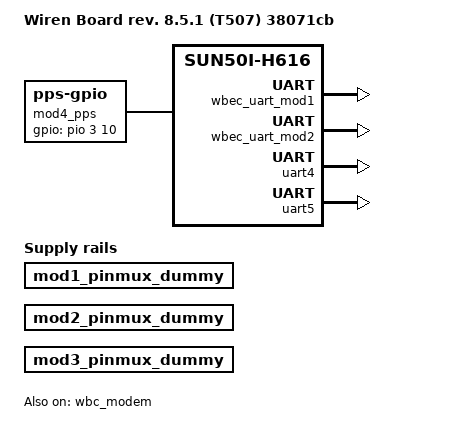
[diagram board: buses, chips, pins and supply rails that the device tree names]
/dts-v1/;
#include "sun50i-h616-wirenboard851.dts"
#include "sun50i-h616-wirenboard85x-38071cb.dtsi"

/ {
	model = "Wiren Board rev. 8.5.1 (T507) 38071cb";
	compatible = "wirenboard,wirenboard-851-38071cb", "wirenboard,wirenboard-85x-38071cb", "wirenboard,wirenboard-85x", "wirenboard,wirenboard-8xx", "allwinner,sun50i-h616";

	mod1_pinmux_dummy {
		compatible = "regulator-fixed";
		regulator-name = "mod1_pinmux_dummy";
		pinctrl-names = "default";
		pinctrl-0 = <>;
	};

	mod2_pinmux_dummy {
		compatible = "regulator-fixed";
		regulator-name = "mod2_pinmux_dummy";
		pinctrl-names = "default";
		pinctrl-0 = <>;
	};

	mod3_pinmux_dummy {
		compatible = "regulator-fixed";
		regulator-name = "mod3_pinmux_dummy";
		pinctrl-names = "default";
		pinctrl-0 = <>;
	};

	wirenboard {
		gpios {
			MOD1_OUT1 { io-gpios = <&wbec_gpio 7 0>; sort-order = <11>; };
			MOD2_OUT1 { io-gpios = <&wbec_gpio 10 0>; sort-order = <21>; };
			MOD3_OUT1 { io-gpios = <&pio 8 15 0>; sort-order = <31>; gpio-xlate-type = "bank_pin"; gpio-pins-per-bank = <32>; };
		};
	};

	mod4_pps {
		compatible = "pps-gpio";
		pinctrl-names = "default";
		pinctrl-0 = <>;
		gpios = <&pio 3 10 0>;
	};
};

&wbec_uart_mod1 { /* MOD1 */
	status = "okay";
};

&wbec_uart_mod2 { /* MOD2 */
	status = "okay";
};

&uart4 { /* MOD3 */
	pinctrl-names = "default";
	pinctrl-0 = <&pinctrl_mod3_txrx_uart>;
	status = "okay";
};

&uart5 { /* MOD4 */
	pinctrl-names = "default";
	pinctrl-0 = <&pinctrl_mod4_txrx_uart>;
	status = "okay";
};

&wbc_modem { /* WBC2-4G */
	status = "okay";
	model = "a7600x";
	type = "4g", "3g", "edge", "gprs";
	compatible = "wirenboard,wbc-usb";
};

&led_red {
	default-state = "off";
	linux,default-trigger = "default-off";
};
